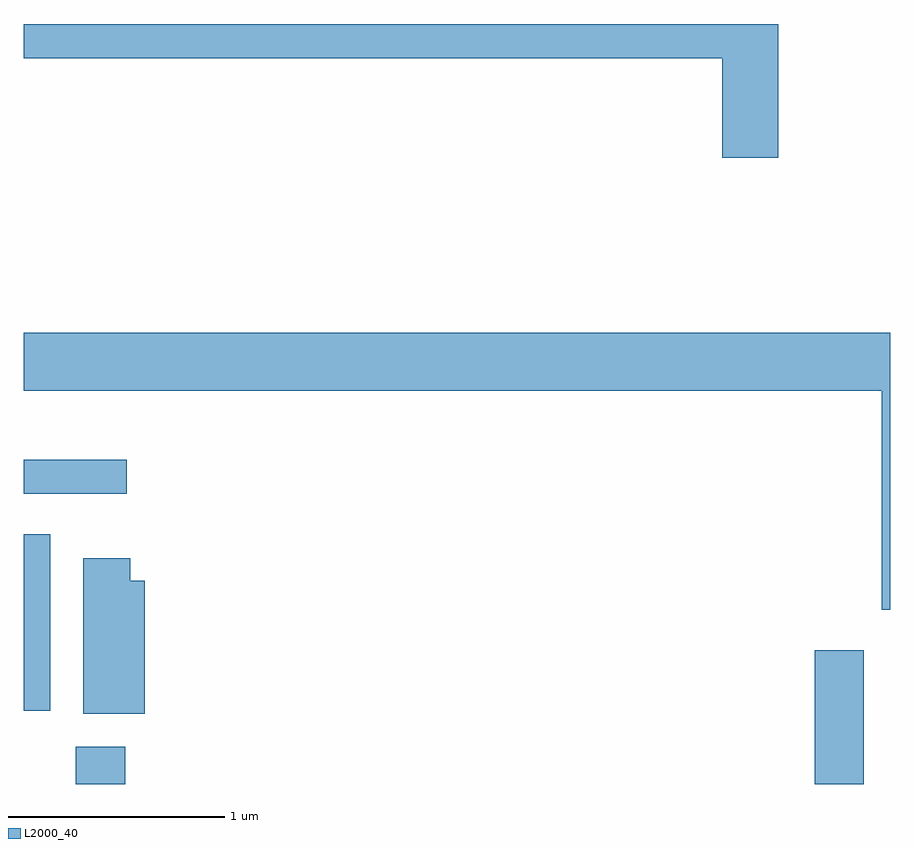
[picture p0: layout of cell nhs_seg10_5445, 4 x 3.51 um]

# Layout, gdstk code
import gdstk
lib = gdstk.Library(unit=1e-6, precision=1e-09)
def R(c, l, rs):  # rectangles x0, y0, x1, y1
    for r in rs: c.add(gdstk.rectangle(r[:2], r[2:], *l))
def P(c, l, *ps):  # polygons
    for p in ps: c.add(gdstk.Polygon(p, *l))
L2000_40 = (2000, 40)

nhs_seg10_5445 = lib.new_cell('nhs_seg10_5445')
R(nhs_seg10_5445, L2000_40, [(345.851,2136.522,346.079,2136.694), (349.261,2136.522,349.489,2137.139), (345.611,2136.861,345.734,2137.674), (345.611,2137.861,346.088,2138.019)])
P(nhs_seg10_5445, L2000_40, [(349.094,2140.029),(345.611,2140.029),(345.611,2139.871),(348.836,2139.871),(348.836,2139.411),(349.094,2139.411)],
  [(349.611,2138.604),(345.611,2138.604),(345.611,2138.336),(349.571,2138.336),(349.571,2137.326),(349.611,2137.326)],
  [(346.169,2137.459),(346.104,2137.459),(346.104,2137.564),(345.886,2137.564),(345.886,2136.846),(346.169,2136.846)])

lib.write_gds('nhs_seg10_5445.gds')
